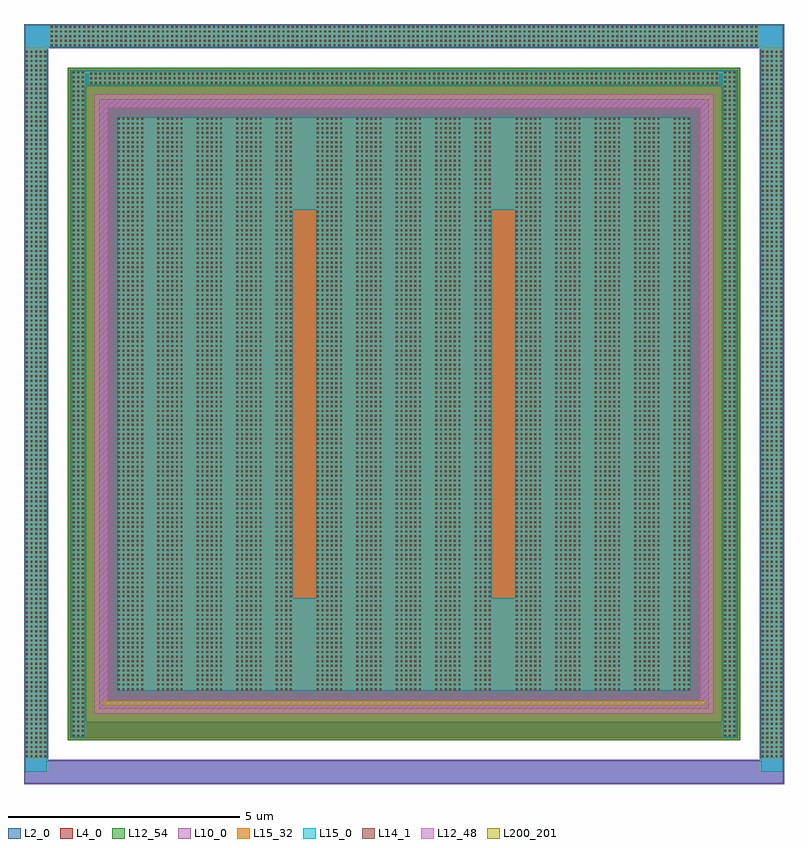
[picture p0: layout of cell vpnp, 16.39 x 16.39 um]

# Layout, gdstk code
import gdstk
lib = gdstk.Library(unit=1e-6, precision=1e-09)
def R(c, l, rs):  # rectangles x0, y0, x1, y1
    for r in rs: c.add(gdstk.rectangle(r[:2], r[2:], *l))
def A(c, l, x, y, w, h, nx, ny, dx, dy):  # array of equal rectangles
    R(c, l, [(x+i*dx, y+j*dy, x+i*dx+w, y+j*dy+h) for i in range(nx) for j in range(ny)])
L2_0 = (2, 0)
L4_0 = (4, 0)
L10_0 = (10, 0)
L12_48 = (12, 48)
L12_54 = (12, 54)
L14_1 = (14, 1)
L15_0 = (15, 0)
L15_32 = (15, 32)
L200_201 = (200, 201)

vpnp = lib.new_cell('vpnp')
R(vpnp, L2_0, [(-14.679,-6.709,1.673,-6.229), (-14.679,-6.229,-14.199,9.163), (1.193,-6.229,1.673,9.163), (-13.699,-5.729,0.693,-5.389), (-13.699,-5.389,-13.359,8.323), (0.353,-5.389,0.693,8.323), (-13.003,-5.033,-0.003,7.967), (-13.699,8.323,0.693,8.663), (-14.679,9.163,1.673,9.643)])
R(vpnp, L4_0, [(-13.755,-5.785,0.749,8.719)])
R(vpnp, L10_0, [(-14.7,-6.73,1.694,-6.208), (-14.7,-6.208,-14.178,9.142), (1.172,-6.208,1.694,9.142), (-13.073,-5.103,0.067,8.037), (-14.7,9.142,1.694,9.664)])
R(vpnp, L12_48, [(-13.184,-5.214,0.178,-4.908), (-13.184,-4.908,-12.878,7.842), (-0.128,-4.908,0.178,7.842), (-13.184,7.842,0.178,8.148)])
R(vpnp, L12_54, [(-13.755,-5.785,0.749,8.719)])
A(vpnp, L14_1, -14.659, -6.153, 0.04, 0.04, 5, 153, 0.1, 0.1)
A(vpnp, L14_1, 1.213, -6.153, 0.04, 0.04, 5, 153, 0.1, 0.1)
A(vpnp, L14_1, -13.649, -5.703, 0.04, 0.04, 3, 144, 0.1, 0.1)
A(vpnp, L14_1, 0.403, -5.703, 0.04, 0.04, 3, 144, 0.1, 0.1)
A(vpnp, L14_1, -12.673, -4.703, 0.04, 0.04, 6, 124, 0.1, 0.1)
A(vpnp, L14_1, -11.821, -4.703, 0.04, 0.04, 6, 124, 0.1, 0.1)
A(vpnp, L14_1, -10.969, -4.703, 0.04, 0.04, 6, 124, 0.1, 0.1)
A(vpnp, L14_1, -10.117, -4.703, 0.04, 0.04, 6, 124, 0.1, 0.1)
A(vpnp, L14_1, -9.265, -4.703, 0.04, 0.04, 4, 124, 0.1, 0.1)
A(vpnp, L14_1, -8.381, -4.703, 0.04, 0.04, 6, 124, 0.1, 0.1)
A(vpnp, L14_1, -7.529, -4.703, 0.04, 0.04, 6, 124, 0.1, 0.1)
A(vpnp, L14_1, -6.677, -4.703, 0.04, 0.04, 6, 124, 0.1, 0.1)
A(vpnp, L14_1, -5.825, -4.703, 0.04, 0.04, 6, 124, 0.1, 0.1)
A(vpnp, L14_1, -4.973, -4.703, 0.04, 0.04, 4, 124, 0.1, 0.1)
A(vpnp, L14_1, -4.089, -4.703, 0.04, 0.04, 6, 124, 0.1, 0.1)
A(vpnp, L14_1, -3.237, -4.703, 0.04, 0.04, 6, 124, 0.1, 0.1)
A(vpnp, L14_1, -2.385, -4.703, 0.04, 0.04, 6, 124, 0.1, 0.1)
A(vpnp, L14_1, -1.533, -4.703, 0.04, 0.04, 6, 124, 0.1, 0.1)
A(vpnp, L14_1, -0.681, -4.703, 0.04, 0.04, 4, 124, 0.1, 0.1)
A(vpnp, L14_1, -13.273, 8.373, 0.04, 0.04, 136, 3, 0.1, 0.1)
A(vpnp, L14_1, -14.123, 9.183, 0.04, 0.04, 153, 5, 0.1, 0.1)
A(vpnp, L15_0, -12.691, -2.721, 3.792, 8.376, 3, 1, 4.292, 0)
R(vpnp, L15_0, [(-14.677,-6.469,-14.201,9.641), (1.195,-6.469,1.671,9.641), (-13.667,-5.721,-13.391,8.655), (0.385,-5.721,0.661,8.655), (-12.691,-4.721,-0.315,-2.721), (-12.691,5.655,-0.315,7.655), (-13.391,8.355,0.385,8.655), (-14.201,9.165,1.195,9.641)])
R(vpnp, L15_32, [(-14.677,-6.171,-14.201,9.165), (1.195,-6.171,1.671,9.165), (-13.667,-5.721,-13.391,8.655), (0.385,-5.721,0.661,8.655), (-12.691,-4.721,-0.315,7.655), (-13.291,8.355,0.285,8.631), (-14.141,9.165,1.135,9.641)])
R(vpnp, L200_201, [(-13.003,-5.033,-0.003,-4.933)])

lib.write_gds('vpnp.gds')
